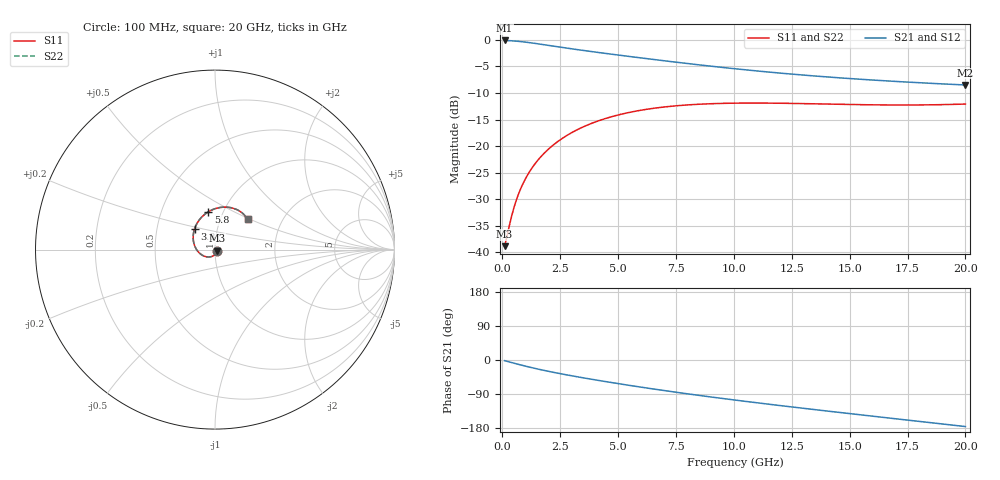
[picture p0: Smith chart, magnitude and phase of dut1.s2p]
! Touchstone file exported from HFSS 2024.1.0
!  File:  C:/UserFiles/LocalFiles/RDL_TSV_Batchsim/temp_RDL_TSV_1_1779395038.aedt
!  Generated:  04:34:35 AM May 22, 2026
!  Design:  RDL_TSV
!  Project:  temp_RDL_TSV_1_1779395038
!  Setup:  Setup1
!  Solution:  Sweep
! Variables:
!  dtsv = 10.61um
!  hbump = 3um
!  htsv = 98.44um
!  ldown = 278.59um
!  lrdl = 335.56um
!  p = 40
!  p1 = 49.97um
!  rhole = 10um
!  subl = 2178.01um
!  t = 450um
!  tdown = 4um
!  trdl = 2.72um
!  viad = 10um
!  wdown = 25.09um
!  wrdl = 27.59um
!  xbump = 18um
# GHz S MA R 50.000000
! Terminal data exported
! Port[1] = TM1_1_T1
! Port[2] = TM1_4_T1
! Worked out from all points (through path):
!   200 points, 100 MHz to 20 GHz, reference 50 ohm
!   highest |S21| = -0.10 dB at 100 MHz (marker M1); lowest = -8.5 dB at 20 GHz (marker M2)
!   group delay of S21, straight-line fit = 22.9 ps
!   lowest |S11| = -38.9 dB at 100 MHz (marker M3), VSWR 1.02, Z = 51 - j0.523 ohm
!   |S11| at or under -10 dB: start of sweep to end of sweep
!   |S22| runs from -38.9 to -11.9 dB; largest |S21 - S12| = 1.2e-14
!   S11 on the Smith chart (normalised r, x): 100 MHz: 1.02, -0.01; 3.8 GHz: 0.78, +0.18; 5.8 GHz: 0.85, +0.38; 20 GHz: 1.35, +0.48
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0.1  0.0114 -26.7  0.989 -1.7  0.989 -1.7  0.01139 -26.7
! Gamma 0 0 0 0
! Port Impedance 50 0 50 0
0.4  0.02175 -77.1  0.9819 -6.8  0.9819 -6.8  0.02175 -77.2
0.6  0.03068 -96.4  0.9744 -10.0  0.9744 -10.0  0.03068 -96.5
0.7  0.03529 -104.3  0.9699 -11.6  0.9699 -11.6  0.03529 -104.3
0.9  0.04457 -118.1  0.9597 -14.7  0.9597 -14.7  0.04457 -118.1
1.2  0.05841 -135.5  0.942 -19.2  0.942 -19.2  0.05842 -135.6
1.7  0.08088 -159.7  0.9088 -26.1  0.9088 -26.1  0.08092 -159.7
2.2  0.1023 -179.6  0.875 -32.4  0.875 -32.4  0.1024 -179.6
2.8  0.1263 160.6  0.8366 -39.5  0.8366 -39.5  0.1265 160.6
3.5  0.1518 141.8  0.796 -47.1  0.796 -47.1  0.1521 141.7
3.8  0.1619 134.8  0.7798 -50.3  0.7798 -50.3  0.1621 134.8
4.8  0.1912 115.2  0.73 -60.3  0.73 -60.3  0.1916 115.1
5.8  0.2141 99.7  0.685 -69.9  0.685 -69.9  0.2146 99.7
6.8  0.2309 87.3  0.6438 -79.0  0.6438 -79.0  0.2315 87.3
8.4  0.2472 72.1  0.5856 -92.6  0.5856 -92.6  0.2479 72.0
10.1  0.2539 60.4  0.5337 -106.1  0.5337 -106.1  0.2546 60.4
11.7  0.2538 52.7  0.4936 -118.1  0.4936 -118.1  0.2546 52.7
13.4  0.2503 47.2  0.4591 -130.3  0.4591 -130.3  0.2512 47.2
15  0.2465 44.1  0.4328 -141.5  0.4328 -141.5  0.2473 44.1
16.7  0.2439 42.5  0.4099 -153.1  0.4099 -153.1  0.2447 42.5
18.3  0.2444 42.2  0.3922 -164.0  0.3922 -164.0  0.2452 42.1
20  0.2489 42.4  0.3764 -175.6  0.3764 -175.6  0.2497 42.4
